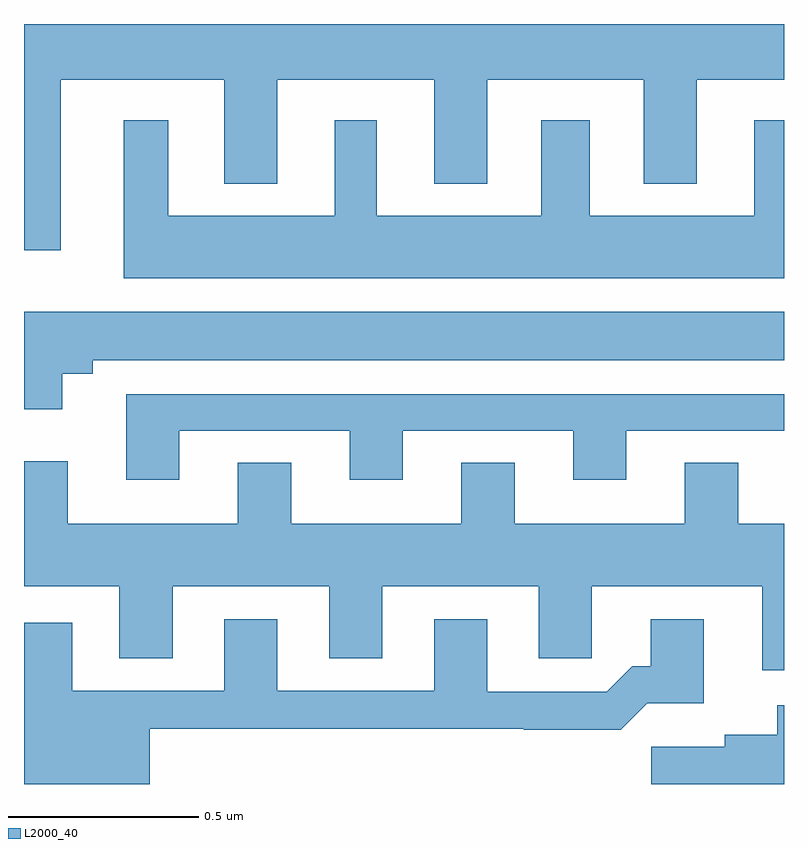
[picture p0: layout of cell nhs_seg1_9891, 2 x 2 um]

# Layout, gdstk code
import gdstk
lib = gdstk.Library(unit=1e-6, precision=1e-09)
def P(c, l, *ps):  # polygons
    for p in ps: c.add(gdstk.Polygon(p, *l))
L2000_40 = (2000, 40)

nhs_seg1_9891 = lib.new_cell('nhs_seg1_9891')
P(nhs_seg1_9891, L2000_40, [(234,564.603),(234.097,564.603),(234.097,565.052),(234.527,565.052),(234.527,564.779),(234.667,564.779),(234.667,565.052),(235.079,565.052),(235.079,564.779),(235.219,564.779),(235.219,565.052),(235.631,565.052),(235.631,564.779),(235.771,564.779),(235.771,565.052),(236,565.052),(236,565.199),(234,565.199)],
  [(236,564.946),(235.922,564.946),(235.922,564.694),(235.489,564.694),(235.489,564.946),(235.361,564.946),(235.361,564.694),(234.928,564.694),(234.928,564.946),(234.818,564.946),(234.818,564.694),(234.379,564.694),(234.379,564.946),(234.263,564.946),(234.263,564.53),(236,564.53)],
  [(234.1,564.278),(234.181,564.278),(234.181,564.314),(236,564.314),(236,564.442),(234,564.442),(234,564.185),(234.1,564.185)],
  [(234.409,564.129),(234.857,564.129),(234.857,564),(234.997,564),(234.997,564.129),(235.445,564.129),(235.445,564),(235.585,564),(235.585,564.129),(236,564.129),(236,564.225),(234.269,564.225),(234.269,564),(234.409,564)],
  [(236,563.884),(235.879,563.884),(235.879,564.044),(235.739,564.044),(235.739,563.884),(235.291,563.884),(235.291,564.044),(235.151,564.044),(235.151,563.884),(234.703,563.884),(234.703,564.044),(234.563,564.044),(234.563,563.884),(234.115,563.884),(234.115,564.049),(234,564.049),(234,563.72),(234.251,563.72),(234.251,563.53),(234.391,563.53),(234.391,563.72),(234.803,563.72),(234.803,563.53),(234.943,563.53),(234.943,563.72),(235.355,563.72),(235.355,563.53),(235.494,563.53),(235.494,563.72),(235.943,563.72),(235.943,563.499),(236,563.499)],
  [(234.331,563.344),(235.315,563.344),(235.315,563.342),(235.571,563.342),(235.64,563.411),(235.789,563.411),(235.789,563.632),(235.649,563.632),(235.649,563.509),(235.6,563.509),(235.533,563.442),(235.219,563.442),(235.219,563.632),(235.079,563.632),(235.079,563.445),(234.667,563.445),(234.667,563.632),(234.527,563.632),(234.527,563.445),(234.127,563.445),(234.127,563.623),(234,563.623),(234,563.199),(234.331,563.199)],
  [(236,563.406),(235.982,563.406),(235.982,563.329),(235.844,563.329),(235.844,563.297),(235.65,563.297),(235.65,563.199),(236,563.199)])

lib.write_gds('nhs_seg1_9891.gds')
